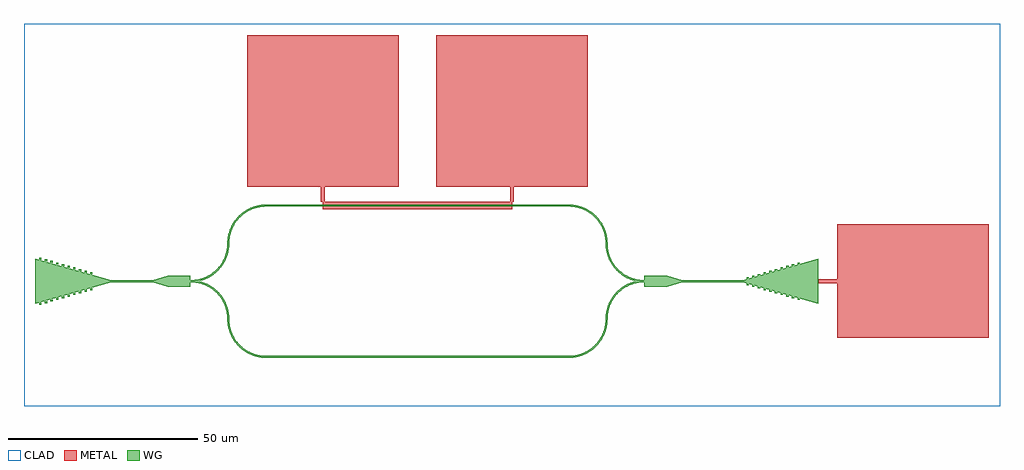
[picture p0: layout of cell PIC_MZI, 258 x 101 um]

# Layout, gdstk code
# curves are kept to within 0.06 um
import gdstk
lib = gdstk.Library(unit=1e-6, precision=1e-09)
def R(c, l, rs):  # rectangles x0, y0, x1, y1
    for r in rs: c.add(gdstk.rectangle(r[:2], r[2:], *l))
def P(c, l, *ps):  # polygons
    for p in ps: c.add(gdstk.Polygon(p, *l))
WG = (1, 0)
CLAD = (2, 0)
METAL = (3, 0)

pic_mzi = lib.new_cell('PIC_MZI')
R(pic_mzi, WG, [(61,-20.25,141,-19.75), (1,-6.212,1.6,-5.712), (2.5,-5.781,3.1,-5.281), (4,-5.35,4.6,-4.85), (5.5,-4.919,6.1,-4.419), (201.5,-4.919,202.1,-4.419), (7,-4.488,7.6,-3.988), (200,-4.488,200.6,-3.988), (8.5,-4.056,9.1,-3.556), (198.5,-4.056,199.1,-3.556), (10,-3.625,10.6,-3.125), (197,-3.625,197.6,-3.125), (11.5,-3.194,12.1,-2.694), (195.5,-3.194,196.1,-2.694), (13,-2.762,13.6,-2.262), (194,-2.762,194.6,-2.262), (14.5,-2.331,15.1,-1.831), (192.5,-2.331,193.1,-1.831), (191,-1.9,191.6,-1.4), (35,-1.5,41,1.5), (161,-1.5,167,1.5), (189.5,-1.469,190.1,-0.969), (188,-1.038,188.6,-0.538), (20,-0.25,35,0.25), (171,-0.25,187,0.25), (188,0.538,188.6,1.038), (189.5,0.969,190.1,1.469), (191,1.4,191.6,1.9), (14.5,1.831,15.1,2.331), (192.5,1.831,193.1,2.331), (13,2.262,13.6,2.762), (194,2.262,194.6,2.762), (11.5,2.694,12.1,3.194), (195.5,2.694,196.1,3.194), (10,3.125,10.6,3.625), (197,3.125,197.6,3.625), (8.5,3.556,9.1,4.056), (198.5,3.556,199.1,4.056), (7,3.988,7.6,4.488), (200,3.988,200.6,4.488), (5.5,4.419,6.1,4.919), (201.5,4.419,202.1,4.919), (4,4.85,4.6,5.35), (2.5,5.281,3.1,5.781), (1,5.712,1.6,6.212), (61,19.75,141,20.25)])
P(pic_mzi, WG, [(0,-6),(0,6),(20,0.25),(20,-0.25)],
  [(35,-1.5),(31,-0.25),(31,0.25),(35,1.5)],
  [(41,-0.25),(41,0.25),(42.194,0.323),(43.136,0.487),(44.285,0.82),(45.169,1.186),(46.614,2.029),(47.894,3.106),(48.971,4.386),(49.814,5.831),(50.18,6.715),(50.513,7.864),(50.677,8.806),(50.75,10),(51.25,10),(51.201,8.995),(51.053,8),(50.809,7.025),(50.47,6.077),(50.04,5.168),(49.523,4.305),(48.923,3.497),(48.248,2.752),(47.503,2.077),(46.695,1.477),(45.832,0.96),(44.923,0.53),(43.975,0.191),(43,-0.053),(42.005,-0.201)],
  [(50.75,10),(50.799,11.005),(50.947,12),(51.191,12.975),(51.53,13.923),(51.96,14.832),(52.477,15.695),(53.077,16.503),(53.752,17.248),(54.497,17.923),(55.305,18.523),(56.168,19.04),(57.077,19.47),(58.025,19.809),(59,20.053),(59.995,20.201),(61,20.25),(61,19.75),(59.806,19.677),(58.864,19.513),(57.715,19.18),(56.831,18.814),(55.386,17.971),(54.106,16.894),(53.029,15.614),(52.186,14.169),(51.82,13.285),(51.487,12.136),(51.323,11.194),(51.25,10)],
  [(50.75,-10),(50.563,-8.098),(50.097,-6.491),(49.237,-4.784),(48.061,-3.277),(46.808,-2.169),(45.384,-1.291),(44.509,-0.903),(43.369,-0.542),(42.194,-0.323),(41,-0.25),(41,0.25),(42.005,0.201),(43.246,0.001),(44.215,-0.267),(45.154,-0.629),(46.052,-1.082),(46.902,-1.62),(47.695,-2.239),(48.424,-2.932),(49.081,-3.694),(49.792,-4.73),(50.371,-5.846),(50.733,-6.785),(51.139,-8.496),(51.25,-10)],
  [(61,-20.25),(59.995,-20.201),(59,-20.053),(58.025,-19.809),(57.077,-19.47),(56.168,-19.04),(55.305,-18.523),(54.497,-17.923),(53.752,-17.248),(53.077,-16.503),(52.477,-15.695),(51.96,-14.832),(51.53,-13.923),(51.191,-12.975),(50.947,-12),(50.799,-11.005),(50.75,-10),(51.25,-10),(51.323,-11.194),(51.487,-12.136),(51.82,-13.285),(52.186,-14.169),(53.029,-15.614),(54.106,-16.894),(55.386,-17.971),(56.831,-18.814),(57.715,-19.18),(58.864,-19.513),(59.806,-19.677),(61,-19.75)],
  [(150.75,10),(150.563,11.902),(150.097,13.509),(149.237,15.216),(148.061,16.723),(146.808,17.831),(145.384,18.709),(144.509,19.097),(143.369,19.458),(142.194,19.677),(141,19.75),(141,20.25),(142.005,20.201),(143.246,20.001),(144.215,19.733),(145.154,19.371),(146.052,18.918),(146.902,18.38),(147.695,17.761),(148.424,17.068),(149.081,16.306),(149.792,15.27),(150.371,14.154),(150.733,13.215),(151.139,11.504),(151.25,10)],
  [(161,-0.25),(159.995,-0.201),(159,-0.053),(158.025,0.191),(157.077,0.53),(156.168,0.96),(155.305,1.477),(154.497,2.077),(153.752,2.752),(153.077,3.497),(152.477,4.305),(151.96,5.168),(151.53,6.077),(151.191,7.025),(150.947,8),(150.799,8.995),(150.75,10),(151.25,10),(151.323,8.806),(151.487,7.864),(151.82,6.715),(152.186,5.831),(153.029,4.386),(154.106,3.106),(155.386,2.029),(156.831,1.186),(157.715,0.82),(158.864,0.487),(159.806,0.323),(161,0.25)],
  [(141,-20.25),(141,-19.75),(142.194,-19.677),(143.136,-19.513),(144.285,-19.18),(145.169,-18.814),(146.614,-17.971),(147.894,-16.894),(148.971,-15.614),(149.814,-14.169),(150.18,-13.285),(150.513,-12.136),(150.677,-11.194),(150.75,-10),(151.25,-10),(151.201,-11.005),(151.053,-12),(150.809,-12.975),(150.47,-13.923),(150.04,-14.832),(149.523,-15.695),(148.923,-16.503),(148.248,-17.248),(147.503,-17.923),(146.695,-18.523),(145.832,-19.04),(144.923,-19.47),(143.975,-19.809),(143,-20.053),(142.005,-20.201)],
  [(150.75,-10),(150.799,-8.995),(150.947,-8),(151.191,-7.025),(151.53,-6.077),(151.96,-5.168),(152.477,-4.305),(153.077,-3.497),(153.752,-2.752),(154.497,-2.077),(155.305,-1.477),(156.168,-0.96),(157.077,-0.53),(158.025,-0.191),(159,0.053),(159.995,0.201),(161,0.25),(161,-0.25),(159.806,-0.323),(158.864,-0.487),(157.715,-0.82),(156.831,-1.186),(155.386,-2.029),(154.106,-3.106),(153.029,-4.386),(152.186,-5.831),(151.82,-6.715),(151.487,-7.864),(151.323,-8.806),(151.25,-10)],
  [(167,-1.5),(167,1.5),(171,0.25),(171,-0.25)],
  [(207,-6),(187,-0.25),(187,0.25),(207,6)])
R(pic_mzi, CLAD, [(-3,-33,255,68)])
R(pic_mzi, METAL, [(212,-15,252,15), (207,-0.5,212,0.5), (76,19,126,21), (75.5,21,76.5,25), (125.5,21,126.5,25), (56,25,96,65), (106,25,146,65)])

lib.write_gds('PIC_MZI.gds')
